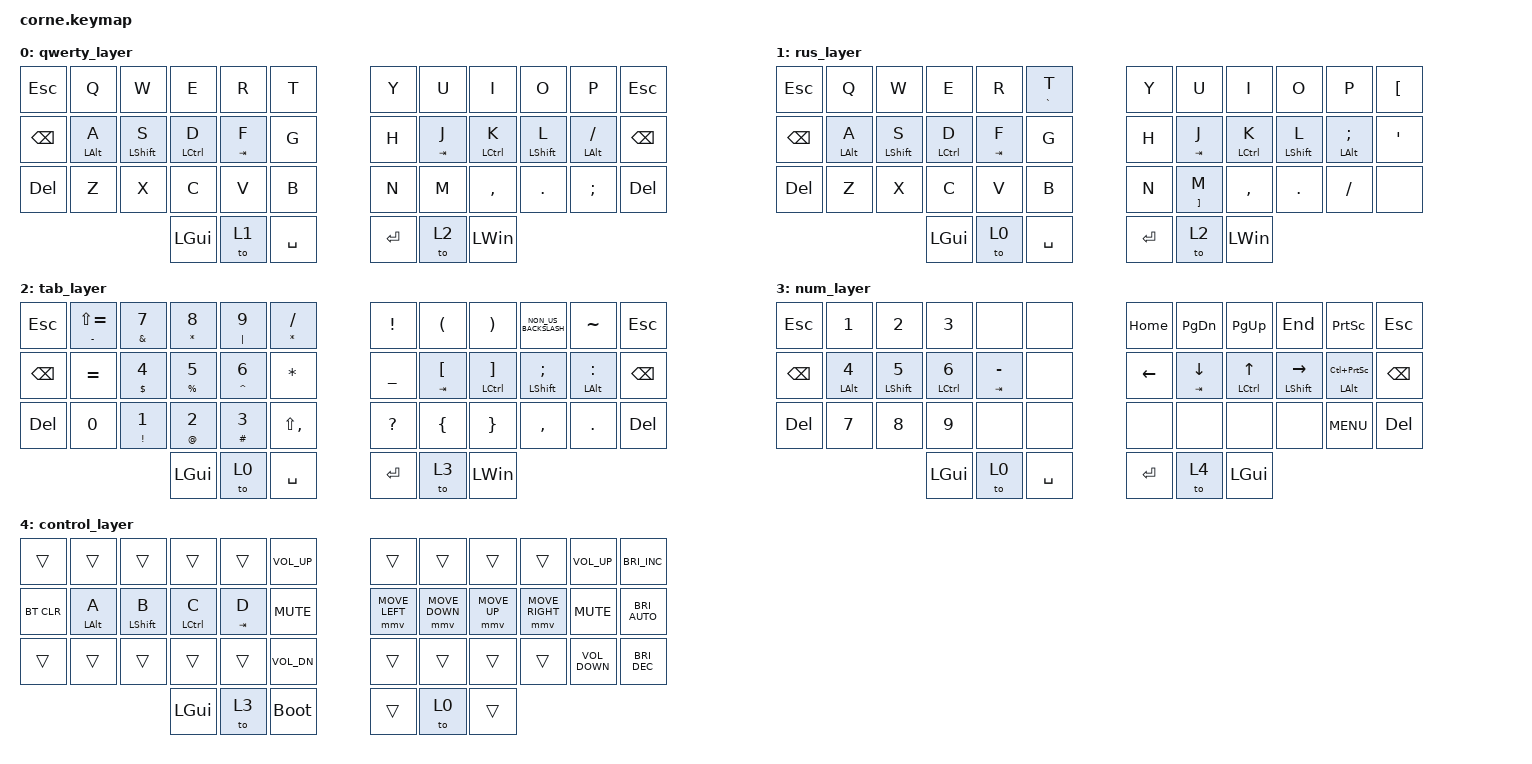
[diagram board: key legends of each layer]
/*
 * Copyright (c) 2020 The ZMK Contributors
 *
 * SPDX-License-Identifier: MIT
 */

#include <behaviors.dtsi>
#include <dt-bindings/zmk/bt.h>
#include <dt-bindings/zmk/keys.h>
#include <dt-bindings/zmk/pointing.h>

&led_strip {
    chain-length = <27>;
};

/ {
    combos { compatible = "zmk,combos"; };

    behaviors {
        HMR: HMR {
            compatible = "zmk,behavior-hold-tap";
            label = "HMR";
            bindings = <&kp>, <&kp>;

            #binding-cells = <2>;
            tapping-term-ms = <280>;
            quick-tap-ms = <175>;
            flavor = "tap-preferred";
            hold-trigger-key-positions = <0 1 2 3 4 5 12 13 14 15 16 17 24 25 26 27 28 29 36 37 38 39 40 41>;
            hold-trigger-on-release;
        };

        HML: HML {
            compatible = "zmk,behavior-hold-tap";
            label = "HML";
            bindings = <&kp>, <&kp>;

            #binding-cells = <2>;
            tapping-term-ms = <280>;
            quick-tap-ms = <175>;
            flavor = "tap-preferred";
            hold-trigger-on-release;
            hold-trigger-key-positions = <38 6 30 18 31 19 7 32 20 8 33 21 9 34 22 10 35 23 11 37 36 39 40 41>;
        };

        HMLS: HMLS {
            compatible = "zmk,behavior-hold-tap";
            label = "HMLS";
            bindings = <&to>, <&kp>;

            #binding-cells = <2>;
            tapping-term-ms = <280>;
            quick-tap-ms = <175>;
            hold-trigger-key-positions = <39>;
            hold-trigger-on-release;
        };
    };

    keymap {
        compatible = "zmk,keymap";

        qwerty_layer {
            // -----------------------------------------------------------------------------------------
            // |  TAB |  Q  |  W  |  E  |  R  |  T  |   |  Y  |  U   |  I  |  O  |  P  | BSPC |
            // | CTRL |  A  |  S  |  D  |  F  |  G  |   |  H  |  J   |  K  |  L  |  ;  |  '   |
            // | SHFT |  Z  |  X  |  C  |  V  |  B  |   |  N  |  M   |  ,  |  .  |  /  | ESC  |
            //                    | GUI | LWR | SPC |   | ENT | RSE  | ALT |

            bindings = <
&kp ESCAPE     &kp Q            &kp W              &kp E         &kp R       &kp T        &kp Y      &kp U       &kp I         &kp O              &kp P                &kp ESCAPE
&kp BACKSPACE  &HML LEFT_ALT A  &HML LEFT_SHIFT S  &HML LCTRL D  &HML TAB F  &kp G        &kp H      &HMR TAB J  &HMR LCTRL K  &HMR LEFT_SHIFT L  &HMR LEFT_ALT SLASH  &kp BACKSPACE
&kp DELETE     &kp Z            &kp X              &kp C         &kp V       &kp B        &kp N      &kp M       &kp COMMA     &kp DOT            &kp SEMI             &kp DELETE
                                                   &kp LEFT_GUI  &to 1       &kp SPACE    &kp ENTER  &to 2       &kp LEFT_WIN
            >;
        };

        rus_layer {
            // -----------------------------------------------------------------------------------------
            // |  TAB |  Q  |  W  |  E  |  R  |  T  |   |  Y  |  U   |  I  |  O  |  P  | BSPC |
            // | CTRL |  A  |  S  |  D  |  F  |  G  |   |  H  |  J   |  K  |  L  |  ;  |  '   |
            // | SHFT |  Z  |  X  |  C  |  V  |  B  |   |  N  |  M   |  ,  |  .  |  /  | ESC  |
            //                    | GUI | LWR | SPC |   | ENT | RSE  | ALT |

            bindings = <
&kp ESCAPE     &kp Q            &kp W              &kp E         &kp R       &mt GRAVE T    &kp Y      &kp U                 &kp I         &kp O              &kp P               &kp LEFT_BRACKET
&kp BACKSPACE  &HML LEFT_ALT A  &HML LEFT_SHIFT S  &HML LCTRL D  &HML TAB F  &kp G          &kp H      &HMR TAB J            &HMR LCTRL K  &HMR LEFT_SHIFT L  &HMR LEFT_ALT SEMI  &kp SQT
&kp DELETE     &kp Z            &kp X              &kp C         &kp V       &kp B          &kp N      &HMR RIGHT_BRACKET M  &kp COMMA     &kp DOT            &kp FSLH            &none
                                                   &kp LGUI      &to 0       &kp SPACE      &kp ENTER  &to 2                 &kp LEFT_WIN
            >;
        };

        tab_layer {
            // -----------------------------------------------------------------------------------------
            // |  TAB |  !  |  @  |  #  |  $  |  %  |   |  ^  |  &  |  *  |  (  |  )  | BSPC |
            // | CTRL |     |     |     |     |     |   |  -  |  =  |  [  |  ]  |  \  |  `   |
            // | SHFT |     |     |     |     |     |   |  _  |  +  |  {  |  }  | "|" |  ~   |
            //                    | GUI |     | SPC |   | ENT |     | ALT |

            bindings = <
&kp ESCAPE     &mt MINUS LS(EQUAL)  &mt AMPERSAND NUMBER_7    &mt ASTERISK NUMBER_8  &mt PIPE NUMBER_9   &mt ASTERISK SLASH    &kp EXCLAMATION  &kp LEFT_PARENTHESIS   &kp RIGHT_PARENTHESIS     &kp NON_US_BACKSLASH       &kp TILDE            &kp ESCAPE
&kp BACKSPACE  &kp EQUAL            &mt DOLLAR NUMBER_4       &mt PERCENT NUMBER_5   &mt CARET NUMBER_6  &kp ASTERISK          &kp UNDERSCORE   &HMR TAB LEFT_BRACKET  &HMR LCTRL RIGHT_BRACKET  &HMR LEFT_SHIFT SEMICOLON  &HMR LEFT_ALT COLON  &kp BACKSPACE
&kp DELETE     &kp NUMBER_0         &mt EXCLAMATION NUMBER_1  &mt AT_SIGN NUMBER_2   &mt HASH NUMBER_3   &kp LS(COMMA)         &kp QUESTION     &kp LEFT_BRACE         &kp RIGHT_BRACE           &kp COMMA                  &kp PERIOD           &kp DELETE
                                                              &kp LGUI               &to 0               &kp SPACE             &kp ENTER        &to 3                  &kp LEFT_WIN
            >;
        };

        num_layer {
            // -----------------------------------------------------------------------------------------
            // |  TAB |  1  |  2  |  3  |  4  |  5  |   |  6  |  7  |  8  |  9  |  0  | BSPC |
            // | BTCLR| BT1 | BT2 | BT3 | BT4 | BT5 |   | LFT | DWN |  UP | RGT |     |      |
            // | SHFT |     |     |     |     |     |   |     |     |     |     |     |      |
            //                    | GUI |     | SPC |   | ENT |     | ALT |

            bindings = <
&kp ESCAPE     &kp NUMBER_1            &kp NUMBER_2              &kp NUMBER_3         &none           &none        &kp HOME   &kp PAGE_DOWN  &kp PAGE_UP    &kp END                &kp PRINTSCREEN                &kp ESCAPE
&kp BACKSPACE  &HML LEFT_ALT NUMBER_4  &HML LEFT_SHIFT NUMBER_5  &HML LCTRL NUMBER_6  &HML TAB MINUS  &none        &kp LEFT   &HMR TAB DOWN  &HMR LCTRL UP  &HMR LEFT_SHIFT RIGHT  &HMR LEFT_ALT LC(PRINTSCREEN)  &kp BACKSPACE
&kp DELETE     &kp NUMBER_7            &kp NUMBER_8              &kp NUMBER_9         &none           &none        &none      &none          &none          &none                  &kp K_MENU                     &kp DELETE
                                                                 &kp LGUI             &to 0           &kp SPACE    &kp ENTER  &to 4          &kp LEFT_GUI
            >;
        };

        control_layer {
            bindings = <
&trans      &trans           &trans        &trans        &trans      &kp C_VOLUME_UP    &trans          &trans          &trans        &trans           &kp C_VOLUME_UP    &kp C_BRIGHTNESS_INC
&bt BT_CLR  &HML LEFT_ALT A  &HML LSHFT B  &HML LCTRL C  &HML TAB D  &kp K_MUTE         &mmv MOVE_LEFT  &mmv MOVE_DOWN  &mmv MOVE_UP  &mmv MOVE_RIGHT  &kp C_MUTE         &kp C_BRIGHTNESS_AUTO
&trans      &trans           &trans        &trans        &trans      &kp C_VOL_DN       &trans          &trans          &trans        &trans           &kp C_VOLUME_DOWN  &kp C_BRIGHTNESS_DEC
                                           &kp LEFT_GUI  &to 3       &bootloader        &trans          &to 0           &trans
            >;
        };
    };
};
